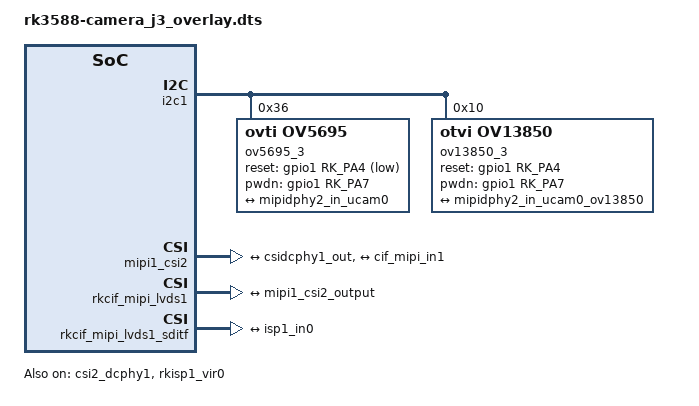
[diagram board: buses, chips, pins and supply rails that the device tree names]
/dts-v1/;
/plugin/;

#include <dt-bindings/usb/pd.h>
#include <dt-bindings/gpio/gpio.h>
#include <dt-bindings/pwm/pwm.h>
#include <dt-bindings/pinctrl/rockchip.h>
#include <dt-bindings/input/rk-input.h>
#include <dt-bindings/display/drm_mipi_dsi.h>
#include <dt-bindings/display/rockchip_vop.h>
#include <dt-bindings/sensor-dev.h>
#include <dt-bindings/clock/rk3588-cru.h>
#include <dt-bindings/power/rk3588-power.h>

/ {

	fragment@0 {
		target = <&csi2_dcphy1>;
		__overlay__ {
			status = "okay";
			ports {
				#address-cells = <1>;
				#size-cells = <0>;

				port@0 {
					reg = <0>;
					#address-cells = <1>;
					#size-cells = <0>;

					mipidphy2_in_ucam0: endpoint@1 {
						reg = <1>;
						remote-endpoint = <&ov5695_out_3>;
						data-lanes = <1 2>;
					}; 

					mipidphy2_in_ucam0_ov13850: endpoint@2 {
						reg = <2>;
						remote-endpoint = <&ov13850_out_3>;
						data-lanes = <1 2>;
					};
				};

				port@1 {
					reg = <1>;
					#address-cells = <1>;
					#size-cells = <0>;

					csidcphy1_out: endpoint@0 {
						reg = <0>;
						remote-endpoint = <&mipi1_csi2_input>;
					};
				};
			};
		};
	};

	fragment@1 {
		target = <&i2c1>;
		__overlay__ {
			status = "okay";
			pinctrl-names = "default";
			pinctrl-0 = <&i2c1m2_xfer>;

			ov5695_3: ov5695@36 {
				status = "okay";
				compatible = "ovti,ov5695";
				reg = <0x36>;
				clocks = <&cru CLK_MIPI_CAMARAOUT_M4>;
				clock-names = "xvclk";
				power-domains = <&power RK3588_PD_VI>;
				pinctrl-names = "default";
				pinctrl-0 = <&mipim0_camera4_clk>;
				reset-gpios = <&gpio1 RK_PA4 GPIO_ACTIVE_LOW>;
				pwdn-gpios = <&gpio1 RK_PA7 GPIO_ACTIVE_HIGH>;
				rockchip,camera-module-index = <2>;
				rockchip,camera-module-facing = "back";
				rockchip,camera-module-name = "default";
				rockchip,camera-module-lens-name = "default";
				port {
					ov5695_out_3: endpoint {
						remote-endpoint = <&mipidphy2_in_ucam0>;
						data-lanes = <1 2>;
					};
				};
			};

			ov13850_3: ov13850@10 {
				status = "okay";
				compatible = "otvi,ov13850";
				reg = <0x10>;
				clocks = <&cru CLK_MIPI_CAMARAOUT_M4>;
				clock-names = "xvclk";
				power-domains = <&power RK3588_PD_VI>;
				pinctrl-names = "default";
				pinctrl-0 = <&mipim0_camera4_clk>;
				reset-gpios = <&gpio1 RK_PA4 GPIO_ACTIVE_HIGH>;
				pwdn-gpios = <&gpio1 RK_PA7 GPIO_ACTIVE_HIGH>;
				rockchip,camera-module-index = <2>;
				rockchip,camera-module-facing = "back";
				rockchip,camera-module-name = "CMK-CT0116";
				rockchip,camera-module-lens-name = "Largan-50013A1";
				port {
					ov13850_out_3: endpoint {
						remote-endpoint = <&mipidphy2_in_ucam0_ov13850>;
						data-lanes = <1 2>;
					};
				};
			};
		};
	};

	fragment@2 {
		target = <&mipi1_csi2>;
		__overlay__ {
			status = "okay";
			ports {
				#address-cells = <1>;
				#size-cells = <0>;

				port@0 {
					reg = <0>;
					#address-cells = <1>;
					#size-cells = <0>;

					mipi1_csi2_input: endpoint@1 {
						reg = <1>;
						remote-endpoint = <&csidcphy1_out>;
					};
				};

				port@1 {
					reg = <1>;
					#address-cells = <1>;
					#size-cells = <0>;

					mipi1_csi2_output: endpoint@0 {
						reg = <0>;
						remote-endpoint = <&cif_mipi_in1>;
					};
				};
			};
		};
	};

	fragment@3 {
		target = <&rkcif_mipi_lvds1>;
		__overlay__ {
			status = "okay";
			port {
				cif_mipi_in1: endpoint {
					remote-endpoint = <&mipi1_csi2_output>;
				};
			};
		};
	};

	fragment@4 {
		target = <&rkcif_mipi_lvds1_sditf>;
		__overlay__ {
			status = "okay";
			port {
				mipi1_lvds_sditf: endpoint {
					remote-endpoint = <&isp1_in0>;
				};
			};
		};
	};

	fragment@5 {
		target = <&rkisp1_vir0>;
		__overlay__ {
			status = "okay";
			port {
				#address-cells = <1>;
				#size-cells = <0>;

				isp1_in0: endpoint@0 {
					reg = <0>;
					remote-endpoint = <&mipi1_lvds_sditf>;
				};
			};
		};
	};
};
